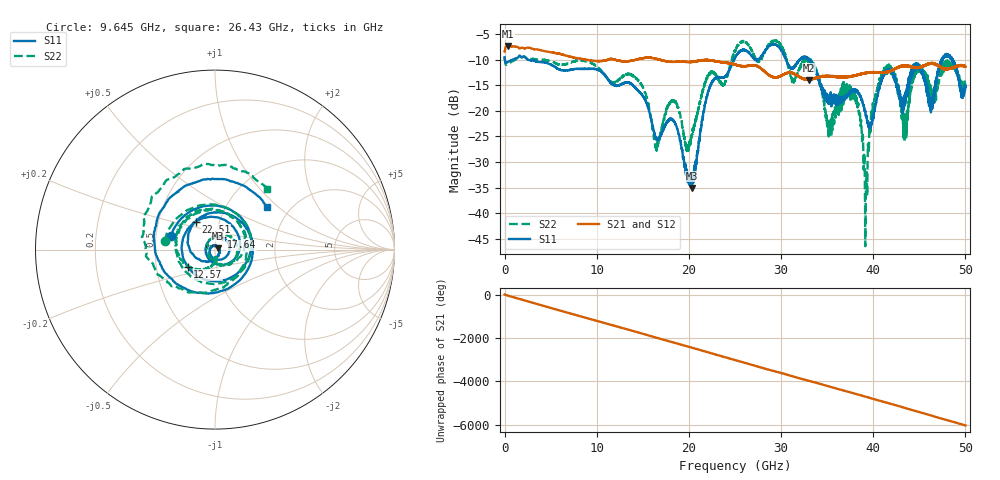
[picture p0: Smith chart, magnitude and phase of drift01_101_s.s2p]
!Created with skrf (http://scikit-rf.org).
# Hz S RI R 50.0
!freq ReS11 ImS11 ReS21 ImS21 ReS12 ImS12 ReS22 ImS22
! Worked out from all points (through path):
!   10001 points, 300 kHz to 50 GHz, reference 50 ohm
!   highest |S21| = -7.33 dB at 325.3 MHz (marker M1); lowest = -14.0 dB at 32.99 GHz (marker M2)
!   group delay of S21, straight-line fit = 335 ps
!   lowest |S11| = -35.1 dB at 20.33 GHz (marker M3), VSWR 1.04, Z = 51.5 + j0.979 ohm
!   |S11| at or under -10 dB: 2.565 GHz to 24.9 GHz (22.34 GHz wide, 163 % of centre); 30.52 GHz to 32.01 GHz (1.493 GHz wide, 4.77 % of centre); 33.07 GHz to 47.43 GHz (14.36 GHz wide, 35.7 % of centre) (the widest 3 of 23)
!   |S22| runs from -46.4 to -6.3 dB; largest |S21 - S12| = 0.01
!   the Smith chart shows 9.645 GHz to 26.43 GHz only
!   S11 on the Smith chart (normalised r, x): 9.645 GHz: 0.60, +0.10; 12.57 GHz: 0.72, -0.14; 17.64 GHz: 1.07, +0.15; 22.51 GHz: 0.77, +0.25; 26.43 GHz: 1.53, +0.84
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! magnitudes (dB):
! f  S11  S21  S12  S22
! 300 kHz  -9.5  -8.4  -8.5  -9.5
! 325.3 MHz  -10.5  -7.3  -7.3  -10.9
! 8.335 GHz  -11.8  -9.8  -9.8  -10.2
! 9.645 GHz  -11.8  -10.2  -10.2  -10.9
! 12.57 GHz  -14.9  -10.3  -10.3  -13.7
! 16.67 GHz  -25.7  -10.0  -9.9  -27.2
! 17.64 GHz  -22.2  -10.4  -10.4  -19.7
! 20.33 GHz  -35.1  -10.4  -10.4  -24.7
! 22.51 GHz  -14.4  -10.2  -10.2  -12.5
! 25 GHz  -9.6  -11.0  -11.0  -8.4
! 26.43 GHz  -8.6  -11.2  -11.2  -7.0
! 32.99 GHz  -9.9  -14.0  -13.9  -10.0
! 33.34 GHz  -10.6  -13.8  -13.8  -10.6
! 35.24 GHz  -17.9  -13.2  -13.2  -23.2
! 37.99 GHz  -15.8  -13.1  -13.1  -17.5
! 39.17 GHz  -20.6  -12.6  -12.6  -42.3
! 40.14 GHz  -20.0  -12.5  -12.4  -17.8
! 41.67 GHz  -12.0  -12.3  -12.4  -11.9
! 43.43 GHz  -17.5  -11.3  -11.3  -25.2
! 44.89 GHz  -11.4  -11.6  -11.5  -11.5
! 46.26 GHz  -20.3  -10.7  -10.7  -16.4
! 50 GHz  -15.3  -11.4  -11.3  -15.1
